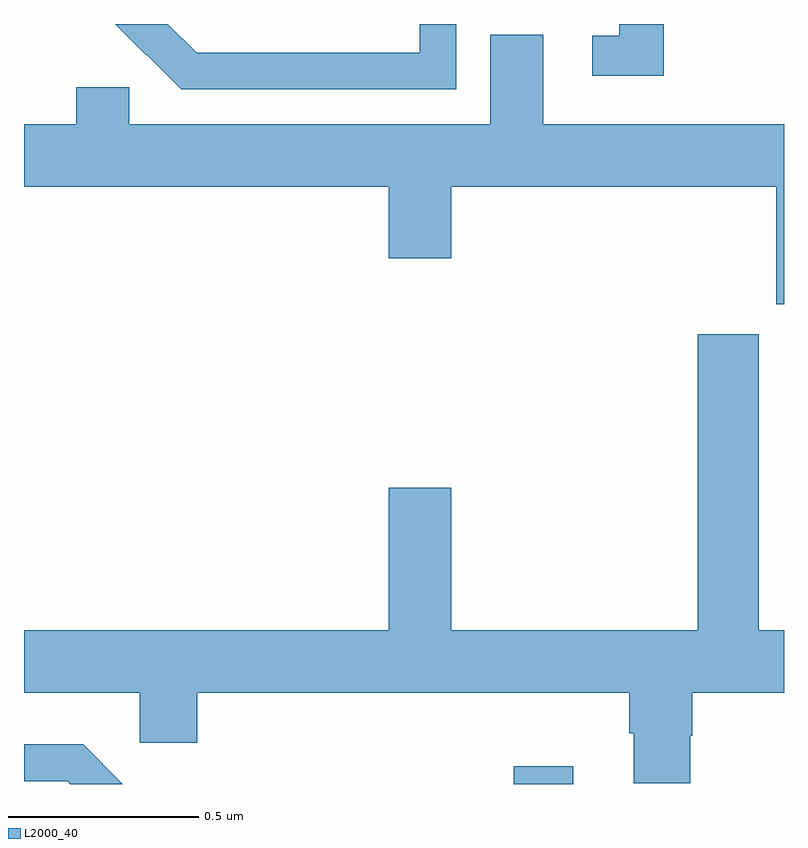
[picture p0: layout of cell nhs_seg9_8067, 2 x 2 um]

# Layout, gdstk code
import gdstk
lib = gdstk.Library(unit=1e-6, precision=1e-09)
def R(c, l, rs):  # rectangles x0, y0, x1, y1
    for r in rs: c.add(gdstk.rectangle(r[:2], r[2:], *l))
def P(c, l, *ps):  # polygons
    for p in ps: c.add(gdstk.Polygon(p, *l))
L2000_40 = (2000, 40)

nhs_seg9_8067 = lib.new_cell('nhs_seg9_8067')
R(nhs_seg9_8067, L2000_40, [(213.289,1209.5,213.445,1209.547)])
P(nhs_seg9_8067, L2000_40, [(213.138,1211.5),(213.041,1211.5),(213.041,1211.424),(212.557,1211.424),(212.557,1211.425),(212.454,1211.425),(212.378,1211.5),(212.24,1211.5),(212.322,1211.418),(212.323,1211.419),(212.414,1211.328),(213.138,1211.328)],
  [(213.683,1211.5),(213.567,1211.5),(213.567,1211.469),(213.495,1211.469),(213.495,1211.364),(213.683,1211.364)],
  [(214,1211.236),(213.367,1211.236),(213.367,1211.472),(213.227,1211.472),(213.227,1211.236),(212.277,1211.236),(212.277,1211.334),(212.138,1211.334),(212.138,1211.236),(212,1211.236),(212,1211.072),(212.96,1211.072),(212.96,1210.884),(213.124,1210.884),(213.124,1211.072),(213.98,1211.072),(213.98,1210.763),(214,1210.763)],
  [(213.753,1209.627),(213.758,1209.627),(213.758,1209.74),(214,1209.74),(214,1209.904),(213.933,1209.904),(213.933,1210.684),(213.773,1210.684),(213.773,1209.904),(213.124,1209.904),(213.124,1210.279),(212.96,1210.279),(212.96,1209.904),(212,1209.904),(212,1209.74),(212.304,1209.74),(212.304,1209.609),(212.456,1209.609),(212.456,1209.74),(213.593,1209.74),(213.593,1209.634),(213.605,1209.634),(213.605,1209.502),(213.753,1209.502)],
  [(212.156,1209.604),(212,1209.604),(212,1209.507),(212.115,1209.507),(212.122,1209.5),(212.26,1209.5)])

lib.write_gds('nhs_seg9_8067.gds')
